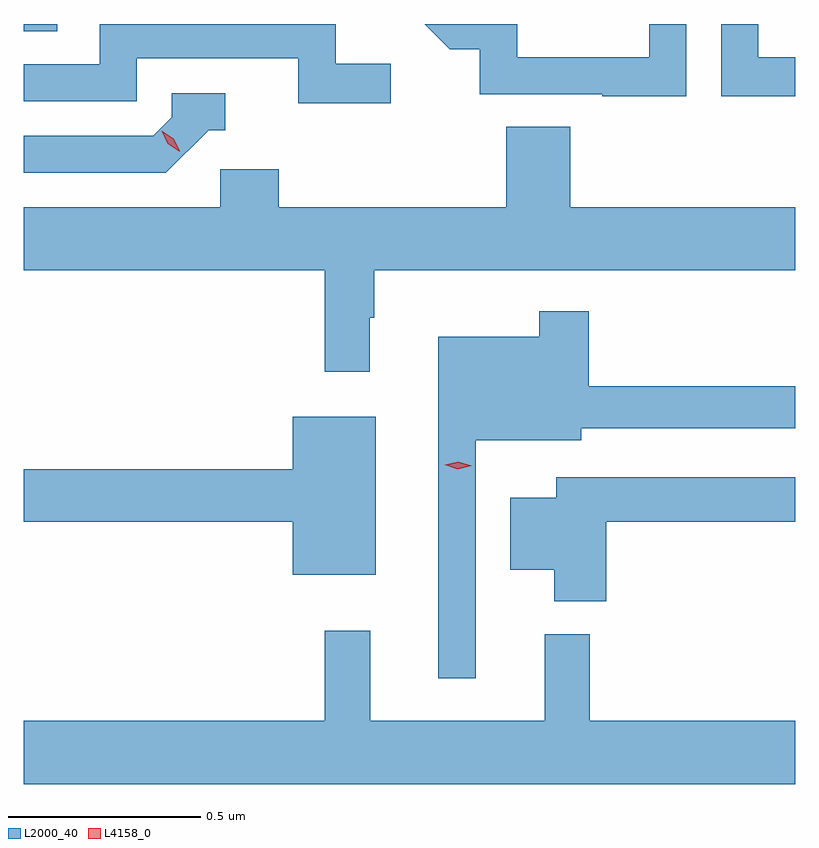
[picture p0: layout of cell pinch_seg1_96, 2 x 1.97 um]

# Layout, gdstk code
import gdstk
lib = gdstk.Library(unit=1e-6, precision=1e-09)
def R(c, l, rs):  # rectangles x0, y0, x1, y1
    for r in rs: c.add(gdstk.rectangle(r[:2], r[2:], *l))
def P(c, l, *ps):  # polygons
    for p in ps: c.add(gdstk.Polygon(p, *l))
L2000_40 = (2000, 40)
L4158_0 = (4158, 0)

pinch_seg1_96 = lib.new_cell('pinch_seg1_96')
R(pinch_seg1_96, L2000_40, [(1032.679,563.008,1032.766,563.027)])
P(pinch_seg1_96, L2000_40, [(1034.679,562.941),(1034.583,562.941),(1034.583,563.027),(1034.487,563.027),(1034.487,562.84),(1034.679,562.84)],
  [(1033.63,562.924),(1033.488,562.924),(1033.488,563.027),(1032.876,563.027),(1032.876,562.923),(1032.679,562.923),(1032.679,562.827),(1032.972,562.827),(1032.972,562.938),(1033.391,562.938),(1033.391,562.822),(1033.63,562.822)],
  [(1034.397,563.027),(1034.301,563.027),(1034.301,562.941),(1033.959,562.941),(1033.959,563.027),(1033.719,563.027),(1033.784,562.962),(1033.861,562.962),(1033.861,562.845),(1034.179,562.845),(1034.179,562.84),(1034.397,562.84)],
  [(1033.158,562.752),(1033.201,562.752),(1033.201,562.848),(1033.062,562.848),(1033.062,562.785),(1033.014,562.737),(1032.679,562.737),(1032.679,562.641),(1033.047,562.641)],
  [(1033.576,562.265),(1033.588,562.265),(1033.588,562.388),(1034.679,562.388),(1034.679,562.552),(1034.096,562.552),(1034.096,562.76),(1033.93,562.76),(1033.93,562.552),(1033.34,562.552),(1033.34,562.65),(1033.188,562.65),(1033.188,562.552),(1032.679,562.552),(1032.679,562.388),(1033.459,562.388),(1033.459,562.125),(1033.576,562.125)],
  [(1033.851,561.947),(1034.125,561.947),(1034.125,561.978),(1034.679,561.978),(1034.679,562.087),(1034.144,562.087),(1034.144,562.282),(1034.016,562.282),(1034.016,562.216),(1033.754,562.216),(1033.754,561.33),(1033.851,561.33)],
  [(1033.591,562.009),(1033.376,562.009),(1033.376,561.872),(1032.679,561.872),(1032.679,561.736),(1033.376,561.736),(1033.376,561.599),(1033.591,561.599)],
  [(1034.189,561.736),(1034.679,561.736),(1034.679,561.852),(1034.06,561.852),(1034.06,561.799),(1033.94,561.799),(1033.94,561.611),(1034.054,561.611),(1034.054,561.53),(1034.189,561.53)],
  [(1034.679,561.22),(1034.147,561.22),(1034.147,561.445),(1034.03,561.445),(1034.03,561.22),(1033.577,561.22),(1033.577,561.454),(1033.459,561.454),(1033.459,561.22),(1032.679,561.22),(1032.679,561.056),(1034.679,561.056)])
P(pinch_seg1_96, L4158_0, [(1033.804,561.872),(1033.77,561.884),(1033.769,561.884),(1033.77,561.884),(1033.805,561.892),(1033.84,561.881),(1033.841,561.881),(1033.84,561.881)],
  [(1033.082,562.697),(1033.052,562.717),(1033.037,562.75),(1033.037,562.75),(1033.037,562.75),(1033.067,562.73),(1033.083,562.697),(1033.083,562.697)])

lib.write_gds('pinch_seg1_96.gds')
